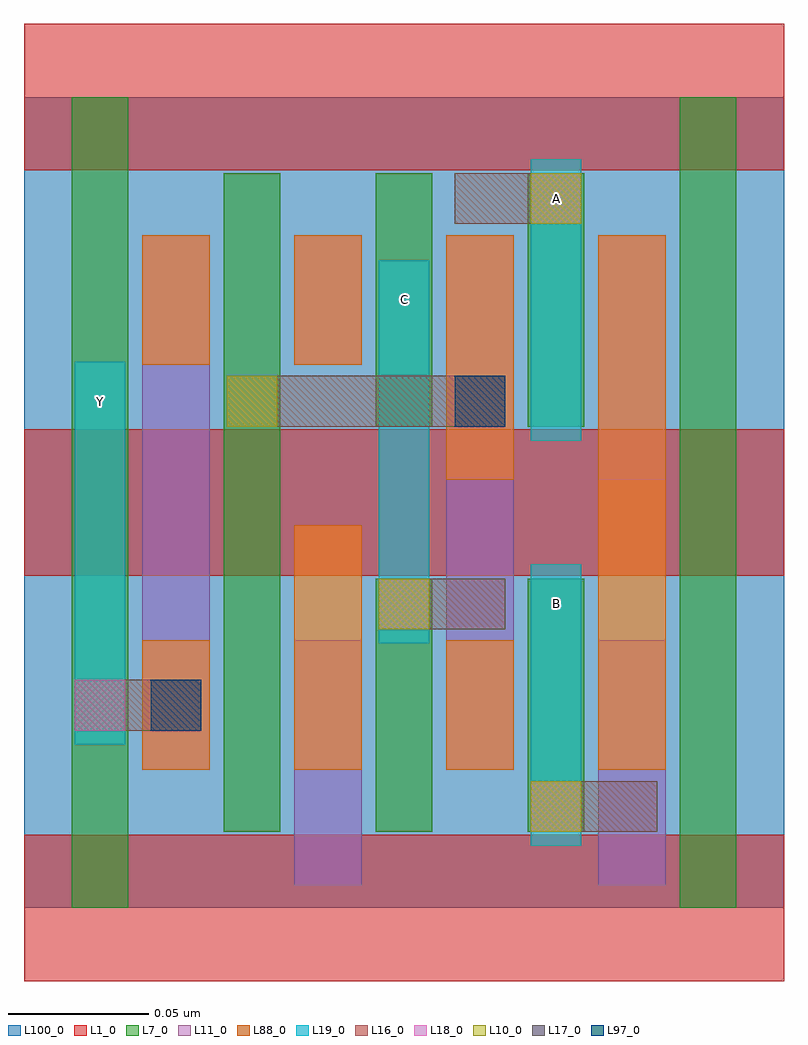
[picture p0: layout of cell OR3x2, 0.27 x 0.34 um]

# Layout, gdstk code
import gdstk
lib = gdstk.Library(unit=1e-6, precision=2.5e-10)
def R(c, l, rs):  # rectangles x0, y0, x1, y1
    for r in rs: c.add(gdstk.rectangle(r[:2], r[2:], *l))
def A(c, l, x, y, w, h, nx, ny, dx, dy):  # array of equal rectangles
    R(c, l, [(x+i*dx, y+j*dy, x+i*dx+w, y+j*dy+h) for i in range(nx) for j in range(ny)])
L1_0 = (1, 0)
L7_0 = (7, 0)
L10_0 = (10, 0)
L11_0 = (11, 0)
L16_0 = (16, 0)
L17_0 = (17, 0)
L18_0 = (18, 0)
L19_0 = (19, 0)
L88_0 = (88, 0)
L97_0 = (97, 0)
L100_0 = (100, 0)

or3x2 = lib.new_cell('OR3x2')
A(or3x2, L1_0, 0, -0.026, 0.27, 0.052, 1, 3, 0, 0.144)
R(or3x2, L7_0, [(0.017,0,0.037,0.144), (0.233,0,0.253,0.144), (0.071,0.027,0.091,0.144), (0.125,0.027,0.145,0.117), (0.179,0.027,0.199,0.117), (0.017,0.144,0.037,0.288), (0.071,0.144,0.091,0.261), (0.233,0.144,0.253,0.288), (0.125,0.171,0.145,0.261), (0.179,0.171,0.199,0.261)])
R(or3x2, L10_0, [(0.18,0.027,0.198,0.045), (0.126,0.099,0.144,0.117), (0.072,0.171,0.09,0.189), (0.18,0.243,0.198,0.261)])
R(or3x2, L11_0, [(0.096,0.008,0.12,0.095), (0.204,0.008,0.228,0.095), (0.042,0.049,0.066,0.144), (0.15,0.049,0.174,0.144), (0.042,0.144,0.066,0.239), (0.15,0.144,0.174,0.239), (0.204,0.152,0.228,0.239), (0.096,0.193,0.12,0.239)])
R(or3x2, L16_0, [(0.18,0.027,0.225,0.045), (0.018,0.063,0.063,0.081), (0.126,0.099,0.171,0.117), (0.072,0.171,0.171,0.189), (0.153,0.243,0.198,0.261)])
R(or3x2, L17_0, [(0.045,0.063,0.063,0.081), (0.153,0.171,0.171,0.189)])
R(or3x2, L18_0, [(0.18,0.027,0.198,0.045), (0.018,0.063,0.036,0.081), (0.126,0.099,0.144,0.117), (0.18,0.243,0.198,0.261)])
R(or3x2, L19_0, [(0.18,0.022,0.198,0.122), (0.018,0.058,0.036,0.194), (0.126,0.094,0.144,0.23), (0.18,0.166,0.198,0.266)])
R(or3x2, L88_0, [(0.042,0.049,0.066,0.095), (0.096,0.049,0.12,0.136), (0.15,0.049,0.174,0.095), (0.204,0.049,0.228,0.144), (0.204,0.144,0.228,0.239), (0.15,0.152,0.174,0.239), (0.042,0.193,0.066,0.239), (0.096,0.193,0.12,0.239)])
R(or3x2, L97_0, [(0.045,0.063,0.063,0.081), (0.153,0.171,0.171,0.189)])
R(or3x2, L100_0, [(0,0,0.27,0.288)])
or3x2.add(gdstk.Label('A', (0.189,0.252), layer=19, texttype=251))
or3x2.add(gdstk.Label('B', (0.189,0.108), layer=19, texttype=251))
or3x2.add(gdstk.Label('C', (0.135,0.216), layer=19, texttype=251))
or3x2.add(gdstk.Label('Y', (0.027,0.18), layer=19, texttype=251))

lib.write_gds('OR3x2.gds')
